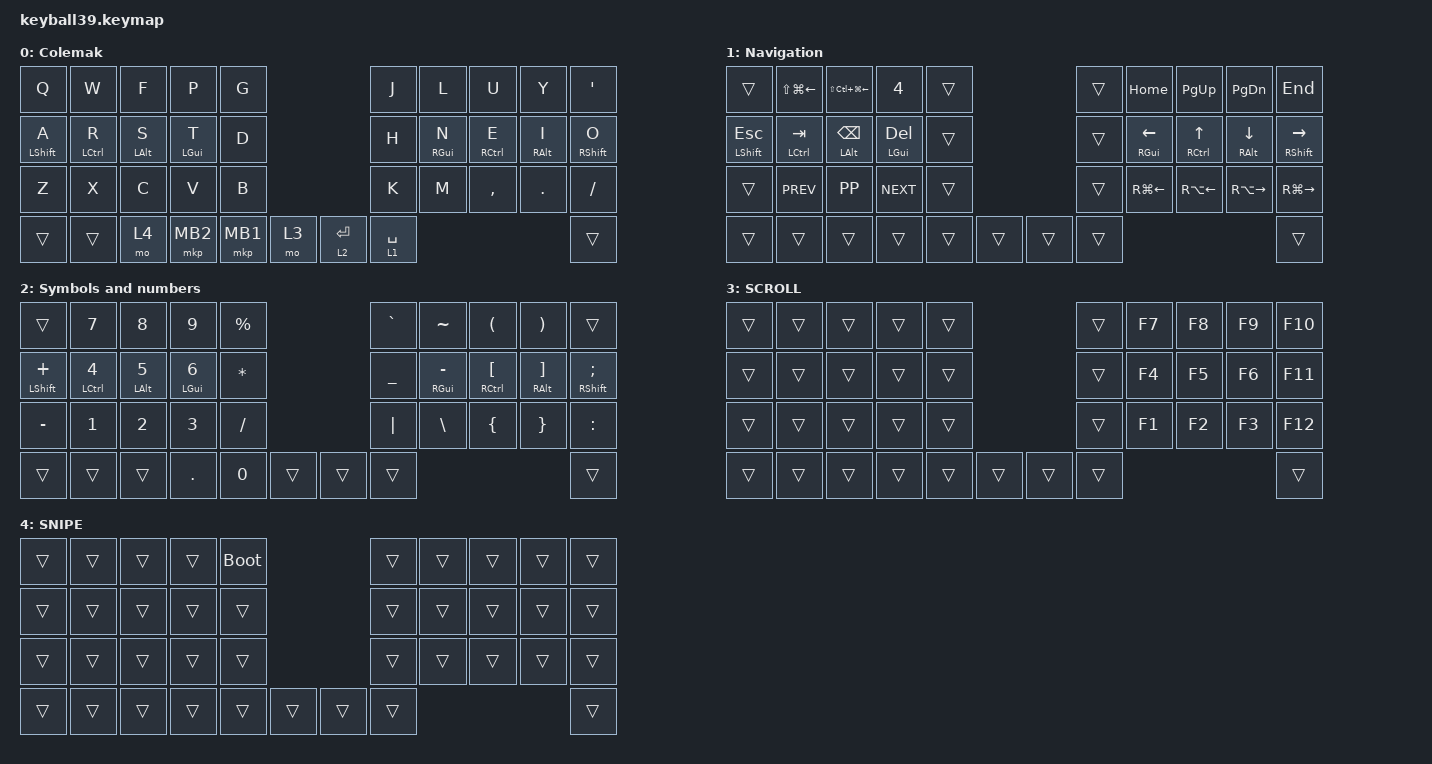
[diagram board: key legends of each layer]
#define DEFAULT 0
#define NUM     1
#define SYM     2
#define FUN     3
#define MOUSE   4
#define SCROLL  5
#define SNIPE   6

#include <behaviors/mouse_keys.dtsi>
#include <dt-bindings/zmk/mouse.h>
#include <behaviors.dtsi>
#include <dt-bindings/zmk/bt.h>
#include <dt-bindings/zmk/keys.h>

&lt {
    tapping-term-ms = <240>;
    flavor = "balanced";
    quick-tap-ms = <150>;
};

&mt {
    tapping-term-ms = <200>;
    flavor = "tap-preferred";
    quick-tap-ms = <150>;
};

&caps_word { continue-list = <UNDERSCORE MINUS>; };

/ {
    // custom shift using mod-morph 

    behaviors {
        cmqus: comma_question {
            compatible = "zmk,behavior-mod-morph";
            label = "COMMA_QUESTION";
            #binding-cells = <0>;
            bindings = <&kp COMMA>, <&kp QUESTION>;

            mods = <(MOD_LSFT|MOD_RSFT)>;
        };

        dtsmi: dot_semi {
            compatible = "zmk,behavior-mod-morph";
            label = "DOT_SEMI";
            #binding-cells = <0>;
            bindings = <&kp DOT>, <&kp SEMI>;

            mods = <(MOD_LSFT|MOD_RSFT)>;
        };
    };

    macros {
        Hiragana: Hiragana {
            compatible = "zmk,behavior-macro";
            #binding-cells = <0>;
            bindings = <&kp LC(SPACE)>;
            label = "HIRAGANA";
        };
    };

    keymap {
        compatible = "zmk,keymap";

        default_layer {
            label = "Colemak";
            bindings = <
&kp Q           &kp W         &kp F         &kp P         &kp G                                    &kp J    &kp L       &kp U           &kp Y       &kp SINGLE_QUOTE
&mt LSHIFT A    &mt LCTRL R   &mt LALT S    &mt LGUI T    &kp D                                    &kp H    &mt RGUI N  &mt RCTRL E     &mt RALT I  &mt RSHIFT O
&kp Z           &kp X         &kp C         &kp V         &kp B                                    &kp K    &kp M       &kp COMMA       &kp DOT     &kp SLASH
&trans          &trans        &mo 4         &mkp MB2      &mkp MB1   &mo 3            &lt 2 ENTER  &lt 1 SPACE                                      &trans
            >;
        };

        nav_layer {
            label = "Navigation";
            bindings = <
&trans          &kp LS(LG(LEFT))    &kp LS(LC(LG(LEFT)))    &kp N4          &trans              &trans  &kp HOME        &kp PG_UP     &kp PG_DN     &kp END
&mt LSHIFT ESC  &mt LCTRL TAB       &mt LALT BSPC           &mt LGUI DEL    &trans              &trans  &mt RGUI LEFT   &mt RCTRL UP  &mt RALT DOWN &mt RSHIFT RIGHT
&trans          &kp K_PREV          &kp K_PP                &kp K_NEXT      &trans              &trans  &kp RG(LEFT)    &kp RA(LEFT)  &kp RA(RIGHT) &kp RG(RIGHT)
&trans          &trans              &trans                  &trans          &trans      &trans  &trans  &trans                                      &trans
            >;
        };

        symbol_number_layer {
            label = "Symbols and numbers";
            bindings = <
&trans          &kp N7        &kp N8        &kp N9        &kp PERCENT                  &kp GRAVE       &kp TILDE        &kp LPAR         &kp RPAR         &trans
&mt LSHIFT PLUS &mt LCTRL N4  &mt LALT N5   &mt LGUI N6   &kp ASTRK                    &kp UNDERSCORE  &mt RGUI MINUS   &mt RCTRL LBKT   &mt RALT RBKT    &mt RSHIFT SEMI
&kp MINUS       &kp N1        &kp N2        &kp N3        &kp FSLH                     &kp PIPE        &kp BACKSLASH    &kp LBRC         &kp RBRC         &kp COLON
&trans          &trans        &trans        &kp DOT       &kp N0       &trans  &trans  &trans                                                             &trans
            >;
        };

        scroll_layer {
            label = "SCROLL";
            bindings = <
&trans  &trans  &trans  &trans  &trans                  &trans  &kp F7  &kp F8  &kp F9  &kp F10
&trans  &trans  &trans  &trans  &trans                  &trans  &kp F4  &kp F5  &kp F6  &kp F11
&trans  &trans  &trans  &trans  &trans                  &trans  &kp F1  &kp F2  &kp F3  &kp F12
&trans  &trans  &trans  &trans  &trans  &trans  &trans  &trans                          &trans
            >;
        };

        snipe_layer {
            label = "SNIPE";
            bindings = <
&trans  &trans  &trans  &trans  &bootloader                  &trans  &trans  &trans  &trans  &trans
&trans  &trans  &trans  &trans  &trans                       &trans  &trans  &trans  &trans  &trans
&trans  &trans  &trans  &trans  &trans                       &trans  &trans  &trans  &trans  &trans
&trans  &trans  &trans  &trans  &trans       &trans  &trans  &trans                          &trans
            >;
        };
    };
};
